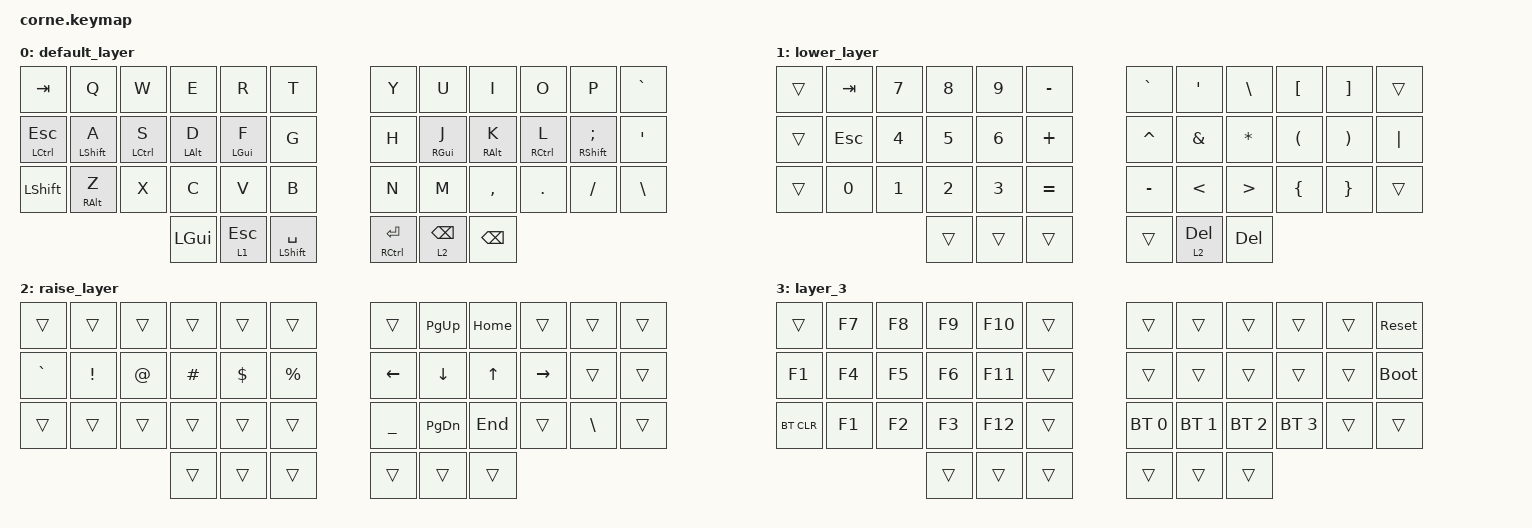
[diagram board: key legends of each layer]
/*
 * Copyright (c) 2020 The ZMK Contributors
 *
 * SPDX-License-Identifier: MIT
 */

#include <behaviors.dtsi>
#include <dt-bindings/zmk/bt.h>
#include <dt-bindings/zmk/keys.h>

/ {
    behaviors {
        hml: hml {
            compatible = "zmk,behavior-hold-tap";
            label = "home-modifier-left";
            bindings = <&kp>, <&kp>;

            #binding-cells = <2>;
            tapping-term-ms = <300>;
            quick-tap-ms = <200>;
            require-prior-idle-ms = <125>;
            flavor = "balanced";
            hold-trigger-key-positions = <6 7 8 9 10 11 18 19 20 21 22 23 30 31 32 33 34 35 39 40 41>;
            hold-trigger-on-release;
        };

        hmr: hmr {
            compatible = "zmk,behavior-hold-tap";
            label = "home-row-right";
            bindings = <&kp>, <&kp>;

            #binding-cells = <2>;
            tapping-term-ms = <300>;
            quick-tap-ms = <200>;
            require-prior-idle-ms = <125>;
            flavor = "balanced";
            hold-trigger-on-release;
            hold-trigger-key-positions = <0 1 2 3 4 5 12 13 14 15 16 17 24 25 26 27 28 29 36 37 38>;
        };

        z_alt: z_alt {
            compatible = "zmk,behavior-hold-tap";
            label = "Z_ALT";
            bindings = <&kp>, <&kp>;

            #binding-cells = <2>;
            tapping-term-ms = <300>;
            quick-tap-ms = <200>;
            require-prior-idle-ms = <125>;
            flavor = "balanced";
            hold-trigger-key-positions = <2 3 4 14 15 16 26 27 28>;
            hold-trigger-on-release;
        };

        mylt: mylt {
            compatible = "zmk,behavior-hold-tap";
            label = "MYLT";
            bindings = <&mo>, <&kp>;

            #binding-cells = <2>;
            tapping-term-ms = <300>;
            quick-tap-ms = <200>;
        };

        ht: ht {
            compatible = "zmk,behavior-hold-tap";
            label = "HT";
            bindings = <&kp>, <&kp>;

            #binding-cells = <2>;
            tapping-term-ms = <220>;
            quick-tap-ms = <150>;
            require-prior-idle-ms = <125>;
        };
    };

    keymap {
        compatible = "zmk,keymap";

        default_layer {
            // -----------------------------------------------------------------------------------------
            // |  TAB |  Q  |  W  |  E  |  R  |  T  |   |  Y  |  U   |  I  |  O  |  P  | BSPC |
            // | CTRL |  A  |  S  |  D  |  F  |  G  |   |  H  |  J   |  K  |  L  |  ;  |  '   |
            // | SHFT |  Z  |  X  |  C  |  V  |  B  |   |  N  |  M   |  ,  |  .  |  /  | ESC  |
            //                    | GUI | LWR | SPC |   | ENT | RSE  | ALT |

            bindings = <
&kp TAB        &kp Q               &kp W                &kp E            &kp R        &kp T                   &kp Y                     &kp U              &kp I             &kp O         &kp P                       &kp GRAVE
&mt LCTRL ESC  &hml LEFT_SHIFT A   &hml LEFT_CONTROL S  &hml LEFT_ALT D  &hml LGUI F  &kp G                   &kp H                     &hmr RGUI J        &hmr RIGHT_ALT K  &hmr RCTRL L  &hmr RIGHT_SHIFT SEMICOLON  &kp SINGLE_QUOTE
&kp LSHFT      &z_alt RIGHT_ALT Z  &kp X                &kp C            &kp V        &kp B                   &kp N                     &kp M              &kp COMMA         &kp DOT       &kp SLASH                   &kp BSLH
                                                        &kp LGUI         &mylt 1 ESC  &ht LEFT_SHIFT SPACE    &ht RIGHT_CONTROL RETURN  &mylt 2 BACKSPACE  &kp BACKSPACE
            >;
        };

        lower_layer {
            // -----------------------------------------------------------------------------------------
            // |  TAB |  1  |  2  |  3  |  4  |  5  |   |  6  |  7  |  8  |  9  |  0  | BSPC |
            // | BTCLR| BT1 | BT2 | BT3 | BT4 | BT5 |   | LFT | DWN |  UP | RGT |     |      |
            // | SHFT |     |     |     |     |     |   |     |     |     |     |     |      |
            //                    | GUI |     | SPC |   | ENT |     | ALT |

            bindings = <
&trans  &kp TAB  &kp N7  &kp N8  &kp N9  &kp MINUS    &kp GRAVE  &kp SQT        &kp BACKSLASH     &kp LBKT              &kp RBKT               &trans
&trans  &kp ESC  &kp N4  &kp N5  &kp N6  &kp PLUS     &kp CARET  &kp AMPS       &kp STAR          &kp LEFT_PARENTHESIS  &kp RIGHT_PARENTHESIS  &kp PIPE
&trans  &kp N0   &kp N1  &kp N2  &kp N3  &kp EQUAL    &kp MINUS  &kp LESS_THAN  &kp GREATER_THAN  &kp LEFT_BRACE        &kp RIGHT_BRACE        &trans
                         &trans  &trans  &trans       &trans     &mylt 2 DEL    &kp DEL
            >;
        };

        raise_layer {
            // -----------------------------------------------------------------------------------------
            // |  TAB |  !  |  @  |  #  |  $  |  %  |   |  ^  |  &  |  *  |  (  |  )  | BSPC |
            // | CTRL |     |     |     |     |     |   |  -  |  =  |  [  |  ]  |  \  |  `   |
            // | SHFT |     |     |     |     |     |   |  _  |  +  |  {  |  }  | "|" |  ~   |
            //                    | GUI |     | SPC |   | ENT |     | ALT |

            bindings = <
&trans     &trans    &trans  &trans     &trans      &trans         &trans     &kp PAGE_UP  &kp HOME  &trans     &trans    &trans
&kp GRAVE  &kp EXCL  &kp AT  &kp POUND  &kp DOLLAR  &kp PERCENT    &kp LEFT   &kp DOWN     &kp UP    &kp RIGHT  &trans    &trans
&trans     &trans    &trans  &trans     &trans      &trans         &kp UNDER  &kp PG_DN    &kp END   &trans     &kp BSLH  &trans
                             &trans     &trans      &trans         &trans     &trans       &trans
            >;
        };

        layer_3 {
            bindings = <
&trans      &kp F7  &kp F8  &kp F9  &kp F10  &trans    &trans        &trans        &trans        &trans        &trans  &sys_reset
&kp F1      &kp F4  &kp F5  &kp F6  &kp F11  &trans    &trans        &trans        &trans        &trans        &trans  &bootloader
&bt BT_CLR  &kp F1  &kp F2  &kp F3  &kp F12  &trans    &bt BT_SEL 0  &bt BT_SEL 1  &bt BT_SEL 2  &bt BT_SEL 3  &trans  &trans
                            &trans  &trans   &trans    &trans        &trans        &trans
            >;
        };
    };

    conditional_layers {
        compatible = "zmk,conditional-layers";

        tri_layer {
            if-layers = <1 2>;
            then-layer = <3>;
        };
    };
};
